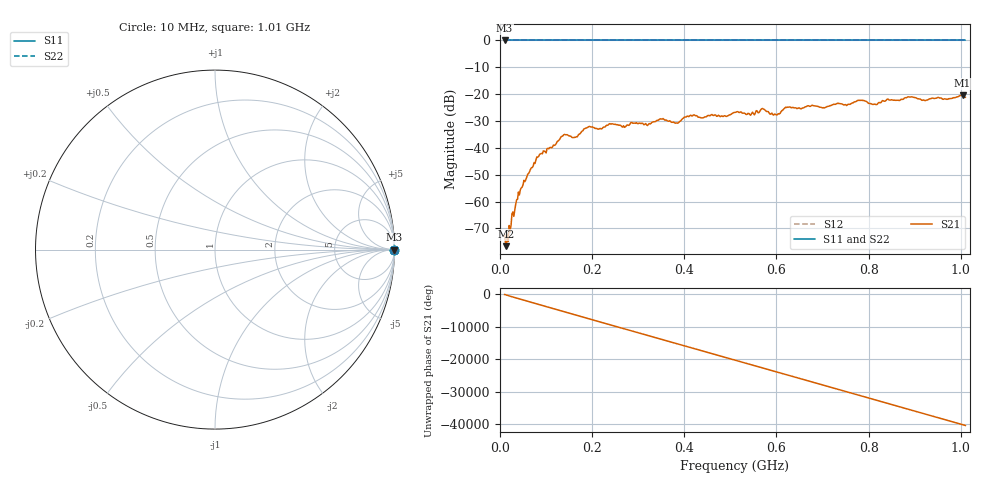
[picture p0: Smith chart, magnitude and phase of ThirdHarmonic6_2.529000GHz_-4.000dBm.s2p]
! 8/17/2025 5:01:46 AM
! C:\ANRITSUVNA\TEMP\TEMP.S2P
! CHANNEL.1
! TR.MEASUREMENT
! RAW.DATA
! RF.CORRECTION.OFF
! AVERAGING.OFF
! IF.BANDWIDTH: 5KHZ
! SWEEPTYPE:  FREQ.SWEEP(Linear)
! Reference Plane Port Info
! PORT:  PORT1  PORT2
! DISTANCE:  0  m  0  m
! TIME:  0  s  0  s
! PHASE.OFFSET:  0  deg.  0  deg.
! LOSS:  0  dB  0  dB
! REF.LOSS:  0  dB  0  dB
! REF.FREQ:  0  Hz  0  Hz
! Power Info
! POWER:  -20  dBm  -20  dBm
! EFF.POWER:  -20  dBm  -20  dBm
! SOURCE.ATTEN:  0  dB  0  dB
! TEST.ATTEN:  0  dB  0  dB
# GHZ S RI R 50.0
! FREQ.GHZ  S11RE  S11IM  S21RE  S21IM  S12RE  S12IM  S22RE  S22IM
!; PortSelection: Port_12
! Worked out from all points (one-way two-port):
!   501 points, 10 MHz to 1.01 GHz, reference 50 ohm
!   highest |S21| = -20.49 dB at 1.004 GHz (marker M1); lowest = -76.6 dB at 14 MHz (marker M2)
!   lowest |S11| = 0.0 dB at 10 MHz (marker M3)
!   |S11| at or under -10 dB: nowhere
!   |S22| runs from 0.0 to 0.0 dB; largest |S21 - S12| = 1.1
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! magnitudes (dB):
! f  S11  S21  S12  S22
! 10 MHz  0.0  -72.1  0.0  0.0
! 14 MHz  0.0  -76.6  0.0  0.0
! 40 MHz  0.0  -56.4  0.0  0.0
! 82 MHz  0.0  -43.4  0.0  0.0
! 136 MHz  0.0  -35.6  0.0  0.0
! 164 MHz  0.0  -36.1  0.0  0.0
! 178 MHz  0.0  -33.8  0.0  0.0
! 194 MHz  0.0  -32.0  0.0  0.0
! 344 MHz  0.0  -29.6  0.0  0.0
! 384 MHz  0.0  -30.7  0.0  0.0
! 410 MHz  0.0  -28.4  0.0  0.0
! 510 MHz  0.0  -26.8  0.0  0.0
! 548 MHz  0.0  -26.7  0.0  0.0
! 570 MHz  0.0  -25.3  0.0  0.0
! 598 MHz  0.0  -27.5  0.0  0.0
! 624 MHz  0.0  -24.8  0.0  0.0
! 678 MHz  0.0  -24.1  0.0  0.0
! 780 MHz  0.0  -22.3  0.0  0.0
! 814 MHz  0.0  -23.7  0.0  0.0
! 844 MHz  0.0  -22.1  0.0  0.0
! 1.004 GHz  0.0  -20.5  0.0  0.0
! 1.01 GHz  0.0  -21.2  0.0  0.0
